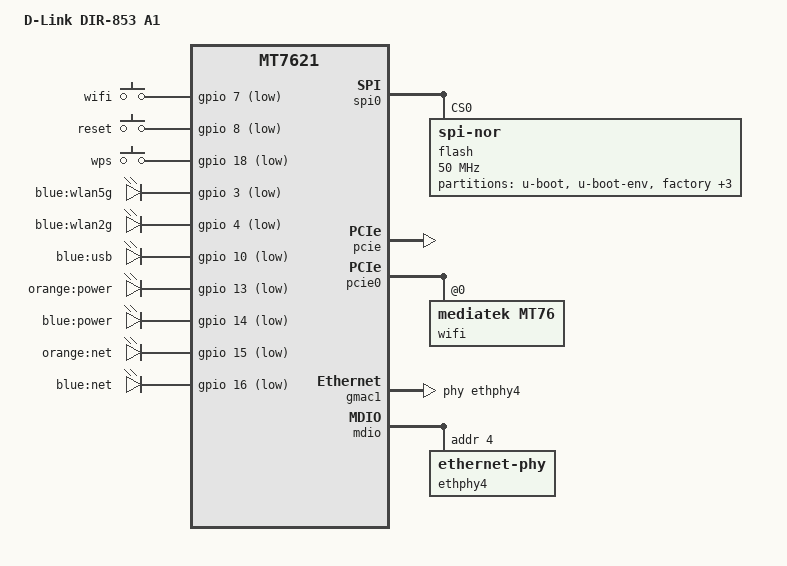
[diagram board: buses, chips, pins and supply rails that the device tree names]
// SPDX-License-Identifier: GPL-2.0-or-later OR MIT

#include "mt7621.dtsi"

#include <dt-bindings/gpio/gpio.h>
#include <dt-bindings/input/input.h>

/ {
	compatible = "dlink,dir-853-a1", "mediatek,mt7621-soc";
	model = "D-Link DIR-853 A1";

	aliases {
		led-boot = &led_power_orange;
		led-failsafe = &led_power_blue;
		led-running = &led_power_blue;
		led-upgrade = &led_net_orange;
	};

	keys {
		compatible = "gpio-keys";

		wifi {
			label = "wifi";
			gpios = <&gpio 7 GPIO_ACTIVE_LOW>;
			linux,code = <KEY_RFKILL>;
		};

		reset {
			label = "reset";
			gpios = <&gpio 8 GPIO_ACTIVE_LOW>;
			linux,code = <KEY_RESTART>;
		};

		wps {
			label = "wps";
			gpios = <&gpio 18 GPIO_ACTIVE_LOW>;
			linux,code = <KEY_WPS_BUTTON>;
		};
	};

	leds {
		compatible = "gpio-leds";

		wlan5g {
			label = "blue:wlan5g";
			gpios = <&gpio 3 GPIO_ACTIVE_LOW>;
			linux,default-trigger = "phy1radio";
		};

		wlan2g {
			label = "blue:wlan2g";
			gpios = <&gpio 4 GPIO_ACTIVE_LOW>;
			linux,default-trigger = "phy0radio";
		};

		usb_blue {
			label = "blue:usb";
			gpios = <&gpio 10 GPIO_ACTIVE_LOW>;
			trigger-sources = <&xhci_ehci_port1>;
			linux,default-trigger = "usbport";
		};

		led_power_orange: power_orange {
			label = "orange:power";
			gpios = <&gpio 13 GPIO_ACTIVE_LOW>;
		};

		led_power_blue: power_blue {
			label = "blue:power";
			gpios = <&gpio 14 GPIO_ACTIVE_LOW>;
		};

		led_net_orange: net_orange {
			label = "orange:net";
			gpios = <&gpio 15 GPIO_ACTIVE_LOW>;
		};

		net_blue {
			label = "blue:net";
			gpios = <&gpio 16 GPIO_ACTIVE_LOW>;
		};
	};
};

&spi0 {
	status = "okay";

	flash@0 {
		compatible = "jedec,spi-nor";
		reg = <0>;
		spi-max-frequency = <50000000>;

		partitions {
			compatible = "fixed-partitions";
			#address-cells = <1>;
			#size-cells = <1>;

			partition@0 {
				label = "u-boot";
				reg = <0x0 0x30000>;
				read-only;
			};

			partition@30000 {
				label = "u-boot-env";
				reg = <0x30000 0x10000>;
				read-only;
			};

			factory: partition@40000 {
				label = "factory";
				reg = <0x40000 0x10000>;
				read-only;
			};

			partition@50000 {
				label = "config2_stock";
				reg = <0x50000 0x10000>;
				read-only;
			};

			partition@60000 {
				compatible = "openwrt,uimage", "denx,uimage";
				openwrt,padding = <96>;
				label = "firmware";
				reg = <0x60000 0xf50000>;
			};

			partition@fb0000 {
				label = "private_stock";
				reg = <0xfb0000 0x50000>;
				read-only;
			};
		};
	};
};


&pcie {
	status = "okay";
};

&pcie0 {
	wifi@0,0 {
		compatible = "mediatek,mt76";
		reg = <0x0000 0 0 0 0>;
		mediatek,mtd-eeprom = <&factory 0x0>;

		/* The correct Mac addresses are set in 10_fix_wifi_mac. */
	};
};

&gmac0 {
	nvmem-cells = <&macaddr_factory_e000>;
	nvmem-cell-names = "mac-address";
};

&gmac1 {
	status = "okay";
	label = "wan";
	phy-handle = <&ethphy4>;

	nvmem-cells = <&macaddr_factory_e006>;
	nvmem-cell-names = "mac-address";
};

&mdio {
	ethphy4: ethernet-phy@4 {
		reg = <4>;
	};
};

&switch0 {
	ports {
		port@0 {
			status = "okay";
			label = "lan4";
		};

		port@1 {
			status = "okay";
			label = "lan3";
		};

		port@2 {
			status = "okay";
			label = "lan2";
		};

		port@3 {
			status = "okay";
			label = "lan1";
		};
	};
};

&state_default {
	gpio {
		groups = "i2c", "uart2", "uart3", "jtag", "wdt";
		function = "gpio";
	};
};

&factory {
	compatible = "nvmem-cells";
	#address-cells = <1>;
	#size-cells = <1>;

	macaddr_factory_e000: macaddr@e000 {
		reg = <0xe000 0x6>;
	};

	macaddr_factory_e006: macaddr@e006 {
		reg = <0xe006 0x6>;
	};
};
